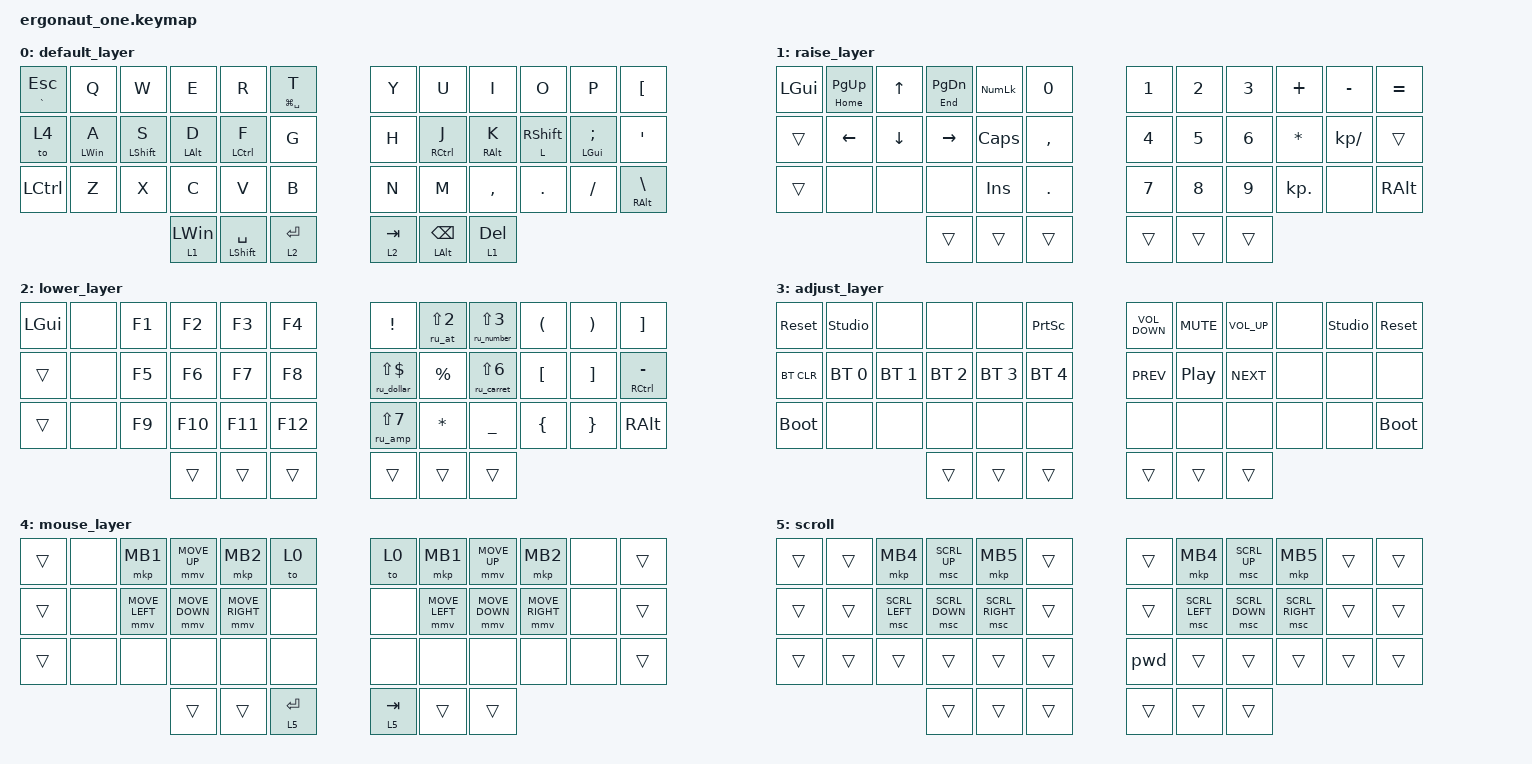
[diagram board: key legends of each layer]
//#include "mouse.dtsi"

#include <dt-bindings/zmk/mouse.h>
#include <behaviors.dtsi>
#include <dt-bindings/zmk/bt.h>
#include <dt-bindings/zmk/keys.h>
#include <dt-bindings/zmk/pointing.h>

#define DEF 0
#define LWR 1
#define RSE 2
#define ADJ 3
#define ZMK_MOUSE_DEFAULT_MOVE_VAL 6000 // 600
#define ZMK_MOUSE_DEFAULT_SCRL_VAL 12   // 10

&mmv {
    acceleration-exponent = <3>;  // 1
    time-to-max-speed-ms = <150>; // 300
    delay-ms = <0>;
    trigger-period-ms = <8>;      // 16
};

&msc {
    acceleration-exponent = <1>;  // 0
    time-to-max-speed-ms = <40>;  // 300
    delay-ms = <0>;
    trigger-period-ms = <8>;      // 16
};

&mt {
    quick-tap-ms = <200>;
    tapping-term-ms = <200>;
    flavor = "tap-preferred";
};

/ {
    conditional_layers {
        compatible = "zmk,conditional-layers";

        tri-layer {
            if-layers = <2 1>;
            then-layer = <3>;
        };
    };

    macros {
        pwd: pwd {
            compatible = "zmk,behavior-macro";
            #binding-cells = <0>;
            bindings = <&kp T &kp R &kp U &kp S &kp T &kp M &kp E &kp I &kp A &kp M &kp A &kp A &kp D &kp M &kp I &kp N &kp N4 &kp N2 &kp DOT>;
            label = "PWD";
        };

        ru_carret: ru_carret {
            compatible = "zmk,behavior-macro";
            #binding-cells = <0>;
            bindings = <&kp LA(LEFT_SHIFT) &kp RS(N6) &kp LA(LEFT_SHIFT)>;
            label = "RU_CARRET";
        };

        ru_at: ru_at {
            compatible = "zmk,behavior-macro";
            #binding-cells = <0>;
            bindings = <&kp LA(LEFT_SHIFT) &kp LS(N2) &kp LA(LEFT_SHIFT)>;
            label = "RU_AT";
        };

        ru_number: ru_number {
            compatible = "zmk,behavior-macro";
            #binding-cells = <0>;
            bindings = <&kp LA(LEFT_SHIFT) &kp LS(N3) &kp LA(LEFT_SHIFT)>;
            label = "RU_NUMBER";
        };

        ru_amp: ru_amp {
            compatible = "zmk,behavior-macro";
            #binding-cells = <0>;
            bindings = <&kp LA(LEFT_SHIFT) &kp LS(N7) &kp LA(LEFT_SHIFT)>;
            label = "RU_AMP";
        };

        ru_dollar: ru_dollar {
            compatible = "zmk,behavior-macro";
            #binding-cells = <0>;
            bindings = <&kp LA(LEFT_SHIFT) &kp LS(NUMBER_4) &kp LA(LEFT_SHIFT)>;
            label = "RU_DOLLAR";
        };
    };

    combos {
        compatible = "zmk,combos";

        mouse_combo {
            bindings = <&tog 4>;
            key-positions = <18 7 8>;
        };

        mouse2 {
            bindings = <&tog 4>;
            key-positions = <17 4 3>;
        };
    };

    behaviors {
        ru_at_or_qu: ru_at_or_qu {
            compatible = "zmk,behavior-hold-tap";
            label = "RU_AT_OR_QU";
            bindings = <&ru_at>, <&kp>;

            #binding-cells = <2>;
            tapping-term-ms = <200>;
            flavor = "balanced";
        };

        ru_hash_or_number: ru_hash_or_number {
            compatible = "zmk,behavior-hold-tap";
            label = "RU_HASH_OR_NUMBER";
            bindings = <&ru_number>, <&kp>;

            #binding-cells = <2>;
            tapping-term-ms = <200>;
            flavor = "balanced";
        };

        ru_dollar_or_semicolon: ru_dollar_or_semicolon {
            compatible = "zmk,behavior-hold-tap";
            label = "RU_DOLLAR_OR_SEMICOLON";
            bindings = <&ru_dollar>, <&kp>;

            #binding-cells = <2>;
            tapping-term-ms = <200>;
            flavor = "balanced";
        };

        ru_carret_or_colon: ru_carret_or_colon {
            compatible = "zmk,behavior-hold-tap";
            label = "RU_CARRET_OR_COLON";
            bindings = <&ru_carret>, <&kp>;

            #binding-cells = <2>;
            tapping-term-ms = <200>;
            flavor = "balanced";
        };

        ru_amp_or_question: ru_amp_or_question {
            compatible = "zmk,behavior-hold-tap";
            label = "RU_AMP_OR_QUESTION";
            bindings = <&ru_amp>, <&kp>;

            #binding-cells = <2>;
            tapping-term-ms = <200>;
            flavor = "balanced";
        };
    };

    keymap {
        compatible = "zmk,keymap";

        default_layer {
            bindings = <
&mt GRAVE ESCAPE  &kp Q           &kp W             &kp E           &kp R            &mt LG(SPACE) T  &kp Y      &kp U                   &kp I            &kp O              &kp P              &kp LBKT
&to 4             &mt LEFT_WIN A  &mt LEFT_SHIFT S  &mt LEFT_ALT D  &mt LCTRL F      &kp G            &kp H      &mt RCTRL J             &mt RIGHT_ALT K  &mt L RIGHT_SHIFT  &mt LEFT_GUI SEMI  &kp SINGLE_QUOTE
&kp LCTRL         &kp Z           &kp X             &kp C           &kp V            &kp B            &kp N      &kp M                   &kp COMMA        &kp DOT            &kp FSLH           &mt RALT BSLH
                                                    &lt 1 LEFT_WIN  &mt LSHFT SPACE  &lt 2 RET        &lt 2 TAB  &mt LEFT_ALT BACKSPACE  &lt 1 DEL
            >;
        };

        raise_layer {
            bindings = <
&kp LGUI  &mt HOME PAGE_UP  &kp UP_ARROW    &mt END PAGE_DOWN  &kp KP_NUMLOCK  &kp NUMBER_0  &kp NUMBER_1  &kp NUMBER_2  &kp NUMBER_3  &kp PLUS      &kp MINUS      &kp EQUAL
&trans    &kp LEFT          &kp DOWN_ARROW  &kp RIGHT          &kp CAPSLOCK    &kp COMMA     &kp NUMBER_4  &kp NUMBER_5  &kp NUMBER_6  &kp ASTERISK  &kp KP_DIVIDE  &trans
&trans    &none             &none           &none              &kp INS         &kp PERIOD    &kp N7        &kp N8        &kp N9        &kp KP_DOT    &none          &kp RALT
                                            &trans             &trans          &trans        &trans        &trans        &trans
            >;
        };

        lower_layer {
            bindings = <
&kp LGUI  &none  &kp F1  &kp F2   &kp F3   &kp F4   &kp EXCL                              &ru_at_or_qu 0 LS(NUMBER_2)  &ru_hash_or_number 0 LS(NUMBER_3)   &kp LEFT_PARENTHESIS  &kp RIGHT_PARENTHESIS  &kp RIGHT_BRACKET
&trans    &none  &kp F5  &kp F6   &kp F7   &kp F8   &ru_dollar_or_semicolon 0 LS(DOLLAR)  &kp PERCENT                  &ru_carret_or_colon 0 LS(NUMBER_6)  &kp LEFT_BRACKET      &kp RIGHT_BRACKET      &mt RCTRL MINUS
&trans    &none  &kp F9  &kp F10  &kp F11  &kp F12  &ru_amp_or_question 0 LS(N7)          &kp ASTRK                    &kp UNDERSCORE                      &kp LEFT_BRACE        &kp RIGHT_BRACE        &kp RALT
                         &trans   &trans   &trans   &trans                                &trans                       &trans
            >;
        };

        adjust_layer {
            bindings = <
&sys_reset   &studio_unlock  &none         &none         &none         &kp PRINTSCREEN  &kp C_VOLUME_DOWN  &kp K_MUTE        &kp C_VOLUME_UP  &none  &studio_unlock  &sys_reset
&bt BT_CLR   &bt BT_SEL 0    &bt BT_SEL 1  &bt BT_SEL 2  &bt BT_SEL 3  &bt BT_SEL 4     &kp C_PREV         &kp C_PLAY_PAUSE  &kp C_NEXT       &none  &none           &none
&bootloader  &none           &none         &none         &none         &none            &none              &none             &none            &none  &none           &bootloader
                                           &trans        &trans        &trans           &trans             &trans            &trans
            >;
        };

        mouse_layer {
            bindings = <
&trans  &none  &mkp MB1        &mmv MOVE_UP    &mkp MB2         &to 0        &to 0      &mkp MB1        &mmv MOVE_UP    &mkp MB2         &none  &trans
&trans  &none  &mmv MOVE_LEFT  &mmv MOVE_DOWN  &mmv MOVE_RIGHT  &none        &none      &mmv MOVE_LEFT  &mmv MOVE_DOWN  &mmv MOVE_RIGHT  &none  &trans
&trans  &none  &none           &none           &none            &none        &none      &none           &none           &none            &none  &trans
                               &trans          &trans           &lt 5 ENTER  &lt 5 TAB  &trans          &trans
            >;
        };

        scroll {
            bindings = <
&trans  &trans  &mkp MB4        &msc SCRL_UP    &mkp MB5         &trans  &trans  &mkp MB4        &msc SCRL_UP    &mkp MB5         &trans  &trans
&trans  &trans  &msc SCRL_LEFT  &msc SCRL_DOWN  &msc SCRL_RIGHT  &trans  &trans  &msc SCRL_LEFT  &msc SCRL_DOWN  &msc SCRL_RIGHT  &trans  &trans
&trans  &trans  &trans          &trans          &trans           &trans  &pwd    &trans          &trans          &trans           &trans  &trans
                                &trans          &trans           &trans  &trans  &trans          &trans
            >;
        };
    };
};
